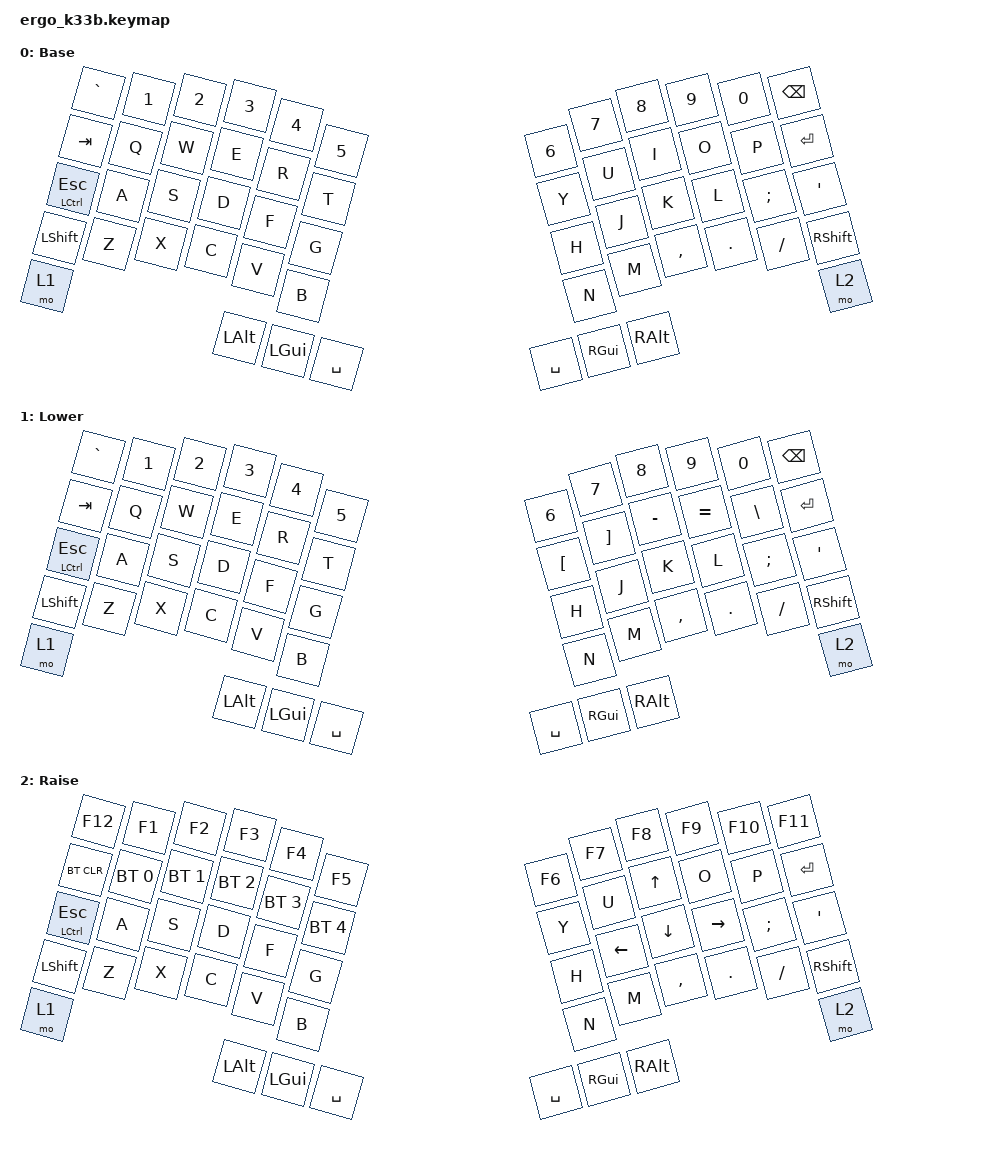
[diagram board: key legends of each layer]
#include <behaviors.dtsi>
#include <dt-bindings/zmk/bt.h>
#include <dt-bindings/zmk/keys.h>

/ {
    keymap {
        compatible = "zmk,keymap";

        default_layer {
            display-name = "Base";

            // -------------------------------------------------------------------------------------
            // |  `       |  1  |  2  |  3   |  4  |   5   |   6   |  7  |  8  |  9  |  0  | BSPC  |
            // |  TAB     |  Q  |  W  |  E   |  R  |   T   |   Y   |  U  |  I  |  O  |  P  | RET   |
            // | ESC_CTRL |  A  |  S  |  D   |  F  |   G   |   H   |  J  |  K  |  L  |  ;  |   '   |
            // | SHIFT    |  Z  |  X  |  C   |  V  |   B   |   N   |  M  |  ,  |  .  |  /  | SHIFT |
            // | LOWER    |     |     | ALT  | GUI | SPACE | SPACE | GUI | ALT |     |     | RAISE |

            bindings = <
&kp GRAVE      &kp N1  &kp N2  &kp N3    &kp N4    &kp N5     &kp N6     &kp N7    &kp N8     &kp N9   &kp N0    &kp BSPC
&kp TAB        &kp Q   &kp W   &kp E     &kp R     &kp T      &kp Y      &kp U     &kp I      &kp O    &kp P     &kp RET
&mt LCTRL ESC  &kp A   &kp S   &kp D     &kp F     &kp G      &kp H      &kp J     &kp K      &kp L    &kp SEMI  &kp SQT
&kp LSHFT      &kp Z   &kp X   &kp C     &kp V     &kp B      &kp N      &kp M     &kp COMMA  &kp DOT  &kp FSLH  &kp RSHFT
&mo 1                          &kp LALT  &kp LGUI  &kp SPACE  &kp SPACE  &kp RGUI  &kp RALT                      &mo 2
            >;
        };

        lower_layer {
            display-name = "Lower";
            bindings = <
&kp GRAVE      &kp N1  &kp N2  &kp N3    &kp N4    &kp N5     &kp N6     &kp N7    &kp N8     &kp N9     &kp N0    &kp BSPC
&kp TAB        &kp Q   &kp W   &kp E     &kp R     &kp T      &kp LBKT   &kp RBKT  &kp MINUS  &kp EQUAL  &kp BSLH  &kp RET
&mt LCTRL ESC  &kp A   &kp S   &kp D     &kp F     &kp G      &kp H      &kp J     &kp K      &kp L      &kp SEMI  &kp SQT
&kp LSHFT      &kp Z   &kp X   &kp C     &kp V     &kp B      &kp N      &kp M     &kp COMMA  &kp DOT    &kp FSLH  &kp RSHFT
&mo 1                          &kp LALT  &kp LGUI  &kp SPACE  &kp SPACE  &kp RGUI  &kp RALT                        &mo 2
            >;
        };

        raise_layer {
            display-name = "Raise";
            bindings = <
&kp F12        &kp F1        &kp F2        &kp F3        &kp F4        &kp F5        &kp F6     &kp F7    &kp F8     &kp F9     &kp F10   &kp F11
&bt BT_CLR     &bt BT_SEL 0  &bt BT_SEL 1  &bt BT_SEL 2  &bt BT_SEL 3  &bt BT_SEL 4  &kp Y      &kp U     &kp UP     &kp O      &kp P     &kp RET
&mt LCTRL ESC  &kp A         &kp S         &kp D         &kp F         &kp G         &kp H      &kp LEFT  &kp DOWN   &kp RIGHT  &kp SEMI  &kp SQT
&kp LSHFT      &kp Z         &kp X         &kp C         &kp V         &kp B         &kp N      &kp M     &kp COMMA  &kp DOT    &kp FSLH  &kp RSHFT
&mo 1                                      &kp LALT      &kp LGUI      &kp SPACE     &kp SPACE  &kp RGUI  &kp RALT                        &mo 2
            >;
        };
    };
};
